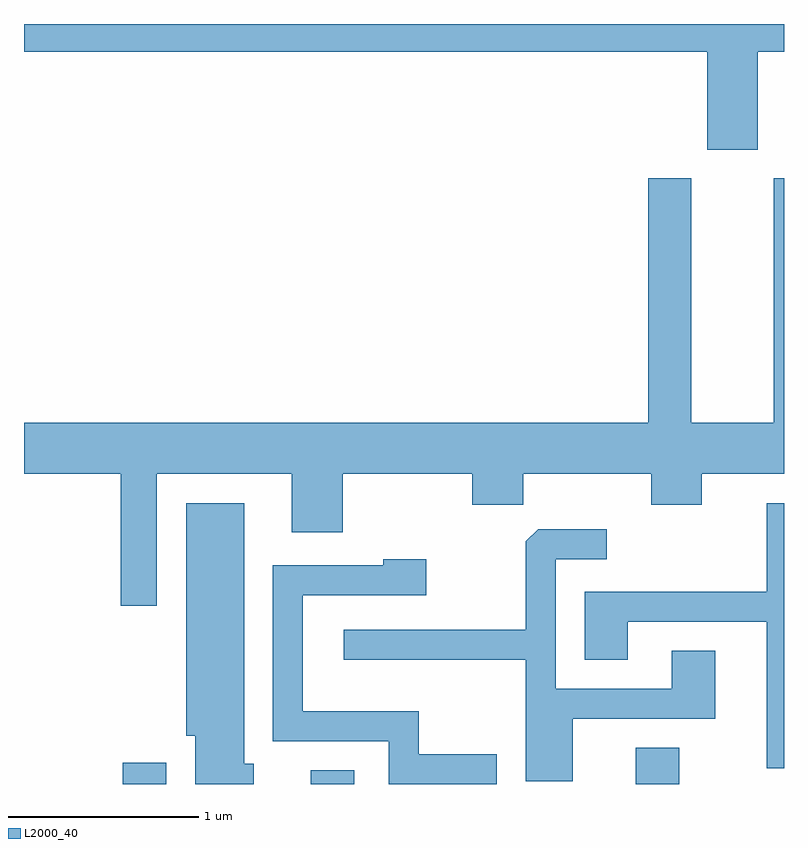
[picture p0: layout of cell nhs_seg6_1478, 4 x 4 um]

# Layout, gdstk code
import gdstk
lib = gdstk.Library(unit=1e-6, precision=1e-09)
def R(c, l, rs):  # rectangles x0, y0, x1, y1
    for r in rs: c.add(gdstk.rectangle(r[:2], r[2:], *l))
def P(c, l, *ps):  # polygons
    for p in ps: c.add(gdstk.Polygon(p, *l))
L2000_40 = (2000, 40)

nhs_seg6_1478 = lib.new_cell('nhs_seg6_1478')
R(nhs_seg6_1478, L2000_40, [(230.131,1566.162,230.359,1566.274), (231.121,1566.162,231.349,1566.234), (232.831,1566.162,233.059,1566.354)])
P(nhs_seg6_1478, L2000_40, [(233.474,1570.016),(233.611,1570.016),(233.611,1570.162),(229.611,1570.162),(229.611,1570.016),(233.206,1570.016),(233.206,1569.501),(233.474,1569.501)],
  [(230.309,1567.796),(231.021,1567.796),(231.021,1567.486),(231.289,1567.486),(231.289,1567.796),(231.971,1567.796),(231.971,1567.631),(232.239,1567.631),(232.239,1567.796),(232.911,1567.796),(232.911,1567.631),(233.179,1567.631),(233.179,1567.796),(233.611,1567.796),(233.611,1569.349),(233.556,1569.349),(233.556,1568.064),(233.124,1568.064),(233.124,1569.349),(232.896,1569.349),(232.896,1568.064),(229.611,1568.064),(229.611,1567.796),(230.121,1567.796),(230.121,1567.101),(230.309,1567.101)],
  [(233.611,1567.639),(233.521,1567.639),(233.521,1567.174),(232.561,1567.174),(232.561,1566.816),(232.789,1566.816),(232.789,1567.016),(233.521,1567.016),(233.521,1566.246),(233.611,1566.246)],
  [(230.819,1566.269),(230.769,1566.269),(230.769,1567.639),(230.466,1567.639),(230.466,1566.416),(230.511,1566.416),(230.511,1566.162),(230.819,1566.162)],
  [(232.499,1566.506),(233.249,1566.506),(233.249,1566.864),(233.021,1566.864),(233.021,1566.664),(232.409,1566.664),(232.409,1567.346),(232.678,1567.346),(232.678,1567.504),(232.317,1567.504),(232.251,1567.439),(232.251,1566.974),(231.293,1566.974),(231.293,1566.816),(232.251,1566.816),(232.251,1566.176),(232.499,1566.176)],
  [(232.098,1566.319),(231.689,1566.319),(231.689,1566.544),(231.079,1566.544),(231.079,1567.156),(231.729,1567.156),(231.729,1567.344),(231.501,1567.344),(231.501,1567.314),(230.921,1567.314),(230.921,1566.386),(231.531,1566.386),(231.531,1566.162),(232.098,1566.162)])

lib.write_gds('nhs_seg6_1478.gds')
